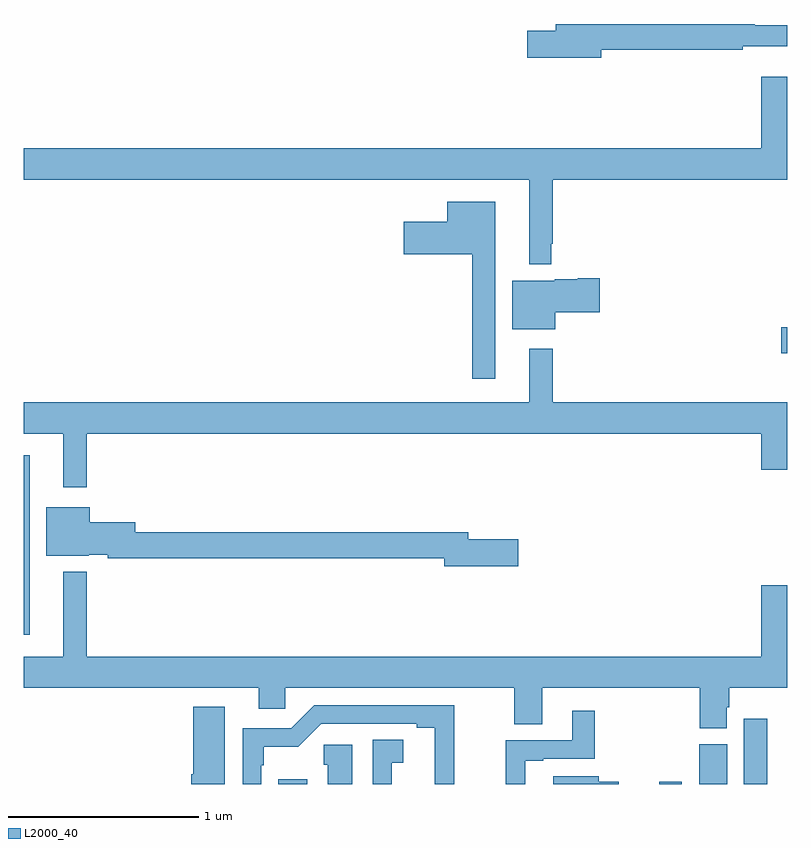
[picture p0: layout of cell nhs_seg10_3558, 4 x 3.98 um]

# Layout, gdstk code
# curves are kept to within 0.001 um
import gdstk
lib = gdstk.Library(unit=1e-6, precision=1e-09)
def R(c, l, rs):  # rectangles x0, y0, x1, y1
    for r in rs: c.add(gdstk.rectangle(r[:2], r[2:], *l))
def P(c, l, *ps):  # polygons
    for p in ps: c.add(gdstk.Polygon(p, *l))
L2000_40 = (2000, 40)

nhs_seg10_3558 = lib.new_cell('nhs_seg10_3558')
R(nhs_seg10_3558, L2000_40, [(306.332,1278.5,306.484,1278.526), (308.33,1278.5,308.448,1278.512), (308.54,1278.5,308.686,1278.708), (308.774,1278.5,308.896,1278.841), (305,1279.283,305.029,1280.224), (308.97,1280.759,309,1280.894)])
P(nhs_seg10_3558, L2000_40, [(308.026,1282.348),(308.768,1282.348),(308.768,1282.367),(309,1282.367),(309,1282.477),(308.831,1282.477),(308.831,1282.484),(307.787,1282.484),(307.787,1282.448),(307.638,1282.448),(307.638,1282.306),(308.026,1282.306)],
  [(307.763,1281.331),(307.771,1281.331),(307.771,1281.668),(309,1281.668),(309,1282.207),(308.864,1282.207),(308.864,1281.832),(305,1281.832),(305,1281.668),(307.649,1281.668),(307.649,1281.224),(307.763,1281.224)],
  [(307.471,1281.553),(307.22,1281.553),(307.22,1281.448),(306.99,1281.448),(306.99,1281.278),(307.35,1281.278),(307.35,1280.625),(307.471,1280.625)],
  [(307.786,1280.974),(308.017,1280.974),(308.017,1281.152),(307.904,1281.152),(307.904,1281.145),(307.782,1281.145),(307.782,1281.139),(307.559,1281.139),(307.559,1280.885),(307.786,1280.885)],
  [(305.329,1280.336),(308.864,1280.336),(308.864,1280.148),(309,1280.148),(309,1280.5),(307.771,1280.5),(307.771,1280.782),(307.649,1280.782),(307.649,1280.5),(305,1280.5),(305,1280.336),(305.207,1280.336),(305.207,1280.055),(305.329,1280.055)],
  [(307.591,1279.784),(307.33,1279.784),(307.33,1279.82),(305.584,1279.82),(305.584,1279.873),(305.344,1279.873),(305.344,1279.951),(305.117,1279.951),(305.117,1279.697),(305.34,1279.697),(305.34,1279.703),(305.44,1279.703),(305.44,1279.684),(307.202,1279.684),(307.202,1279.642),(307.591,1279.642)],
  [(308.683,1278.903),(308.696,1278.903),(308.696,1279.004),(309,1279.004),(309,1279.543),(308.864,1279.543),(308.864,1279.168),(305.329,1279.168),(305.329,1279.612),(305.207,1279.612),(305.207,1279.168),(305,1279.168),(305,1279.004),(306.23,1279.004),(306.23,1278.894),(306.369,1278.894),(306.369,1279.004),(307.57,1279.004),(307.57,1278.814),(307.717,1278.814),(307.717,1279.004),(308.543,1279.004),(308.543,1278.793),(308.683,1278.793)],
  [(306.243,1278.599),(306.256,1278.599),(306.256,1278.695),(306.437,1278.695),(306.558,1278.816),(307.058,1278.816),(307.058,1278.796),(307.154,1278.796),(307.153,1278.5),(307.256,1278.5),(307.256,1278.912),(306.522,1278.912),(306.402,1278.792),(306.147,1278.792),(306.147,1278.5),(306.243,1278.5)],
  [(306.052,1278.904),(305.888,1278.904),(305.888,1278.55),(305.876,1278.55),(305.876,1278.5),(306.052,1278.5)],
  [(307.627,1278.621),(307.723,1278.621),(307.723,1278.633),(307.991,1278.633),(307.991,1278.883),(307.874,1278.883),(307.874,1278.729),(307.525,1278.729),(307.525,1278.5),(307.627,1278.5)],
  [(306.927,1278.611),(306.988,1278.611),(306.988,1278.731),(306.828,1278.731),(306.828,1278.5),(306.927,1278.5)],
  [(306.721,1278.706),(306.571,1278.706),(306.571,1278.6),(306.593,1278.6),(306.593,1278.5),(306.721,1278.5)],
  [(308.119,1278.512),(308.014,1278.512),(308.014,1278.541),(307.775,1278.541),(307.775,1278.5),(308.119,1278.5)])

lib.write_gds('nhs_seg10_3558.gds')
